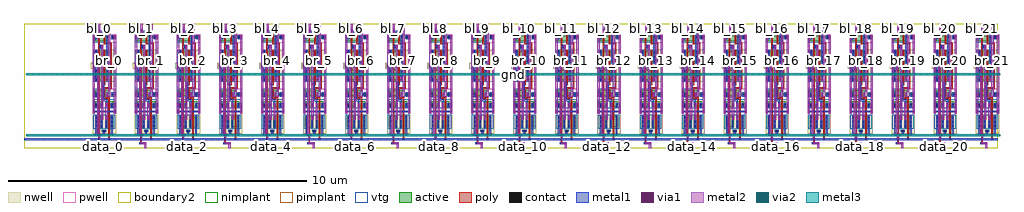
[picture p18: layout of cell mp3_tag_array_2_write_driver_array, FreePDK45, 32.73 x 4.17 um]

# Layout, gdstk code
import gdstk
lib = gdstk.Library(unit=1e-6, precision=5e-10)
def R(c, l, rs):  # rectangles x0, y0, x1, y1
    for r in rs: c.add(gdstk.rectangle(r[:2], r[2:], *l))
def A(c, l, x, y, w, h, nx, ny, dx, dy):  # array of equal rectangles
    R(c, l, [(x+i*dx, y+j*dy, x+i*dx+w, y+j*dy+h) for i in range(nx) for j in range(ny)])
active = (1, 0)
pwell = (2, 0)
nwell = (3, 0)
nimplant = (4, 0)
pimplant = (5, 0)
vtg = (6, 0)
poly = (9, 0)
contact = (10, 0)
metal1 = (11, 0)
via1 = (12, 0)
metal2 = (13, 0)
via2 = (14, 0)
metal3 = (15, 0)
boundary2 = (239, 0)

write_driver = lib.new_cell('write_driver')
R(write_driver, active, [(0.2925,0.535,0.3825,0.625), (0.04,0.705,0.115,1.065), (0.04,0.705,0.115,1.065), (0.04,0.705,0.3,1.065), (0.225,0.705,0.3,1.065), (0.225,0.705,0.3,1.065), (0.38,0.705,0.455,1.065), (0.38,0.705,0.455,1.065), (0.38,0.705,0.64,1.065), (0.565,0.705,0.64,1.065), (0.565,0.705,0.64,1.065), (0.04,0.71,0.115,1.065), (0.225,0.71,0.3,1.065), (0.38,0.71,0.455,1.065), (0.565,0.71,0.64,1.065), (0.04,1.4,0.115,1.58), (0.04,1.4,0.115,1.58), (0.04,1.4,0.3,1.58), (0.04,1.4,0.115,1.475), (0.225,1.4,0.3,1.58), (0.225,1.4,0.3,1.58), (0.225,1.4,0.3,1.475), (0.38,1.4,0.455,1.58), (0.38,1.4,0.455,1.58), (0.38,1.4,0.64,1.58), (0.38,1.4,0.455,1.475), (0.565,1.4,0.64,1.58), (0.565,1.4,0.64,1.58), (0.565,1.4,0.64,1.475), (0.5725,1.7575,0.6625,1.8475), (0.04,1.765,0.115,1.945), (0.04,1.765,0.115,1.945), (0.04,1.765,0.115,1.84), (0.04,1.765,0.49,1.945), (0.1975,1.765,0.3375,1.945), (0.415,1.765,0.49,1.945), (0.415,1.765,0.49,1.945), (0.415,1.765,0.49,1.84), (0.04,2.28,0.115,2.64), (0.04,2.28,0.115,2.64), (0.04,2.28,0.115,2.635), (0.04,2.28,0.49,2.64), (0.1975,2.28,0.3375,2.64), (0.415,2.28,0.49,2.64), (0.415,2.28,0.49,2.64), (0.415,2.28,0.49,2.635), (-0.045,2.72,0.045,2.81), (0.04,2.8925,0.115,3.2525), (0.04,2.8925,0.115,3.2525), (0.04,2.8925,0.49,3.2525), (0.1925,2.8925,0.3325,3.2525), (0.415,2.8925,0.49,3.2525), (0.415,2.8925,0.49,3.2525), (0.04,2.8975,0.115,3.2525), (0.415,2.8975,0.49,3.2525), (0.04,3.5875,0.115,3.7675), (0.04,3.5875,0.115,3.7675), (0.04,3.5875,0.49,3.7675), (0.1925,3.5875,0.3325,3.7675), (0.415,3.5875,0.49,3.7675), (0.415,3.5875,0.49,3.7675), (0.575,3.685,0.665,3.775), (0.04,3.6925,0.115,3.7675), (0.415,3.6925,0.49,3.7675)])
R(write_driver, pwell, [(-0.035,1.345,0.74,2), (-0.015,1.345,0.355,1.635), (0.325,1.345,0.695,1.635), (0.5175,1.7025,0.7175,1.9025), (-0.015,1.71,0.545,2), (-0.035,3.5325,0.74,3.83), (-0.015,3.5325,0.545,3.8225), (0.52,3.63,0.72,3.83)])
R(write_driver, nwell, [(-0.035,0.48,0.74,1.12), (0.2375,0.48,0.4375,0.68), (-0.015,0.65,0.355,1.12), (0.325,0.65,0.695,1.12), (-0.035,2.225,0.74,3.3), (-0.015,2.225,0.545,2.695), (-0.1,2.665,0.1,2.865), (-0.015,2.8375,0.545,3.3075)])
R(write_driver, nimplant, [(0.2925,0.535,0.3825,0.625), (0.04,1.4,0.3,1.58), (0.38,1.4,0.64,1.58), (0.04,1.765,0.49,1.945), (-0.045,2.72,0.045,2.81), (0.04,3.5875,0.49,3.7675)])
R(write_driver, pimplant, [(0.04,0.705,0.3,1.065), (0.38,0.705,0.64,1.065), (0.5725,1.7575,0.6625,1.8475), (0.04,2.28,0.49,2.64), (0.04,2.8925,0.49,3.2525), (0.575,3.685,0.665,3.775)])
R(write_driver, vtg, [(-0.015,0.65,0.355,1.12), (0.325,0.65,0.695,1.12), (-0.015,1.345,0.355,1.635), (0.325,1.345,0.695,1.635), (-0.015,1.71,0.545,2), (-0.015,2.225,0.545,2.695), (-0.015,2.8375,0.545,3.3075), (-0.015,3.5325,0.545,3.8225)])
R(write_driver, poly, [(0.1325,0.1325,0.2075,0.2075), (0.145,0.1375,0.195,0.65), (0.4725,0.2625,0.5475,0.3375), (0.485,0.2675,0.535,0.65), (0.145,0.65,0.195,0.705), (0.145,0.65,0.195,1.12), (0.485,0.65,0.535,0.705), (0.485,0.65,0.535,1.12), (0.145,1.065,0.195,1.12), (0.485,1.065,0.535,1.12), (0.145,1.12,0.195,1.345), (0.485,1.12,0.535,1.345), (0.145,1.345,0.195,1.635), (0.145,1.345,0.195,1.4), (0.485,1.345,0.535,1.635), (0.485,1.345,0.535,1.4), (0.145,1.58,0.195,1.635), (0.485,1.58,0.535,1.635), (0.145,1.635,0.195,1.71), (0.485,1.635,0.535,1.66), (0.335,1.66,0.535,1.71), (0.145,1.71,0.195,2), (0.145,1.71,0.195,1.765), (0.335,1.71,0.385,2), (0.335,1.71,0.385,1.765), (0.145,1.945,0.195,2), (0.335,1.945,0.385,2), (0.335,1.995,0.59,2.045), (0.54,1.995,0.59,3.4825), (0.145,2,0.195,2.225), (0.2775,2.12,0.3525,2.195), (0.335,2.12,0.385,2.225), (0.145,2.225,0.195,2.28), (0.145,2.225,0.195,2.695), (0.335,2.225,0.385,2.28), (0.335,2.225,0.385,2.695), (0.145,2.64,0.195,2.695), (0.335,2.64,0.385,2.695), (0.335,2.695,0.385,2.8375), (0.145,2.8375,0.195,2.8925), (0.145,2.8375,0.195,3.3075), (0.335,2.8375,0.385,2.8925), (0.335,2.8375,0.385,3.3075), (0.145,3.2525,0.195,3.3075), (0.335,3.2525,0.385,3.3075), (0.145,3.3075,0.195,3.5325), (0.18,3.37,0.255,3.445), (0.335,3.4825,0.59,3.5325), (0.145,3.5325,0.195,3.8225), (0.145,3.5325,0.195,3.5875), (0.335,3.5325,0.385,3.8225), (0.335,3.5325,0.385,3.5875), (0.145,3.7675,0.195,3.8225), (0.335,3.7675,0.385,3.8225)])
A(write_driver, contact, 0.045, 0.715, 0.065, 0.065, 1, 3, 0, 0.14)
A(write_driver, contact, 0.23, 0.715, 0.065, 0.065, 1, 3, 0, 0.14)
A(write_driver, contact, 0.385, 0.715, 0.065, 0.065, 1, 3, 0, 0.14)
A(write_driver, contact, 0.57, 0.715, 0.065, 0.065, 1, 3, 0, 0.14)
A(write_driver, contact, 0.045, 2.285, 0.065, 0.065, 1, 3, 0, 0.14)
A(write_driver, contact, 0.42, 2.285, 0.065, 0.065, 1, 3, 0, 0.14)
A(write_driver, contact, 0.045, 2.9025, 0.065, 0.065, 1, 3, 0, 0.14)
A(write_driver, contact, 0.42, 2.9025, 0.065, 0.065, 1, 3, 0, 0.14)
R(write_driver, contact, [(0.1375,0.1375,0.2025,0.2025), (0.4775,0.2675,0.5425,0.3325), (0.305,0.5475,0.37,0.6125), (0.045,1.405,0.11,1.47), (0.23,1.405,0.295,1.47), (0.385,1.405,0.45,1.47), (0.57,1.405,0.635,1.47), (0.045,1.77,0.11,1.835), (0.42,1.77,0.485,1.835), (0.585,1.77,0.65,1.835), (0.2825,2.125,0.3475,2.19), (-0.0325,2.7325,0.0325,2.7975), (0.185,3.375,0.25,3.44), (0.045,3.6975,0.11,3.7625), (0.42,3.6975,0.485,3.7625), (0.5875,3.6975,0.6525,3.7625)])
R(write_driver, metal1, [(0.2075,0.135,0.3425,0.2), (0.1025,0.1375,0.2375,0.2025), (0.045,0.2675,0.635,0.3325), (0.045,0.2675,0.635,0.3325), (0.045,0.3975,0.635,0.4625), (0.105,0.3975,0.24,0.4625), (0.045,0.4625,0.11,0.68), (0.3025,0.4625,0.3675,0.6125), (0.57,0.4625,0.635,0.68), (0.27,0.5475,0.405,0.6125), (0.045,0.68,0.11,1.095), (0.23,0.68,0.295,1.095), (0.385,0.68,0.45,1.095), (0.57,0.68,0.635,1.095), (0.2475,0.96,0.3125,1.095), (0.3875,0.96,0.4525,1.095), (-0.0325,1.165,0.0325,1.3), (0.6725,1.165,0.7375,1.3), (-0.035,1.2,0.74,1.265), (-0.0325,1.37,0.0325,1.505), (0.0275,1.37,0.04,1.505), (0.035,1.37,0.045,1.505), (0.045,1.37,0.11,1.505), (0.23,1.37,0.295,1.505), (0.2475,1.37,0.3125,1.505), (0.385,1.37,0.45,1.505), (0.3875,1.37,0.4525,1.505), (0.57,1.37,0.635,1.505), (0.63,1.37,0.6725,1.505), (0.6725,1.37,0.7375,1.505), (0.38,1.4525,0.445,1.5775), (0.2825,1.5775,0.3475,2.175), (0.2825,1.5775,0.445,1.6425), (-0.0325,1.735,0.0325,1.87), (0.0275,1.735,0.04,1.87), (0.035,1.735,0.045,1.87), (0.045,1.735,0.11,1.87), (0.4175,1.735,0.4825,1.87), (0.42,1.735,0.485,1.87), (0.585,1.735,0.65,1.87), (0.65,1.735,0.6725,1.87), (0.6725,1.735,0.7375,1.87), (0.2825,2.09,0.3475,2.225), (0.045,2.25,0.11,2.665), (0.4175,2.25,0.4825,2.385), (0.42,2.25,0.485,2.665), (0.095,2.65,0.11,2.785), (0.1075,2.65,0.1725,2.785), (0.045,2.665,0.11,2.8675), (-0.0325,2.6975,0.0325,2.8325), (0.0325,2.6975,0.175,2.8325), (0.045,2.8675,0.11,3.2825), (0.42,2.8675,0.485,3.2825), (0.42,3.2825,0.485,3.6625), (0.185,3.34,0.25,3.475), (0.2475,3.34,0.3125,3.475), (-0.0325,3.6625,0.0325,3.7975), (0.0275,3.6625,0.04,3.7975), (0.035,3.6625,0.045,3.7975), (0.045,3.6625,0.11,3.7975), (0.42,3.6625,0.485,3.7975), (0.5875,3.6625,0.6525,3.7975), (0.6525,3.6625,0.6725,3.7975), (0.6725,3.6625,0.7375,3.7975), (0.42,3.7975,0.485,3.8725), (0.15,3.8725,0.485,3.9375), (0.1525,3.8725,0.2175,4.0075)])
R(write_driver, via1, [(0.2425,0.135,0.3075,0.2), (0.14,0.3975,0.205,0.4625), (0.2475,0.995,0.3125,1.06), (0.3875,0.995,0.4525,1.06), (-0.0325,1.2,0.0325,1.265), (0.6725,1.2,0.7375,1.265), (-0.0325,1.405,0.0325,1.47), (0.2475,1.405,0.3125,1.47), (0.3875,1.405,0.4525,1.47), (0.6725,1.405,0.7375,1.47), (-0.0325,1.77,0.0325,1.835), (0.4175,1.77,0.4825,1.835), (0.6725,1.77,0.7375,1.835), (0.4175,2.285,0.4825,2.35), (0.1075,2.685,0.1725,2.75), (0.2475,3.375,0.3125,3.44), (-0.0325,3.6975,0.0325,3.7625), (0.6725,3.6975,0.7375,3.7625), (0.1525,3.9075,0.2175,3.9725)])
R(write_driver, metal2, [(0.28,0,0.35,0.14), (0.28,0,0.35,0.14), (0.1575,0.1325,0.35,0.2025), (0.2075,0.1325,0.3425,0.2025), (0.105,0.395,0.24,0.465), (0.105,0.395,0.24,0.465), (0.105,0.465,0.175,2.785), (0.245,0.96,0.315,1.095), (0.385,0.96,0.455,1.095), (0.245,1.095,0.315,1.37), (0.385,1.095,0.455,1.37), (-0.035,1.1625,0.035,3.7975), (-0.035,1.1625,0.035,3.7975), (-0.035,1.165,0.035,1.3), (0.67,1.165,0.74,3.7975), (0.67,1.165,0.74,1.3), (-0.035,1.37,0.035,1.505), (0.245,1.37,0.315,3.4675), (0.245,1.37,0.315,1.505), (0.385,1.37,0.455,1.505), (0.67,1.37,0.74,1.505), (-0.035,1.735,0.035,1.87), (0.415,1.735,0.485,1.87), (0.485,1.735,0.555,4.175), (0.485,1.735,0.555,4.175), (0.67,1.735,0.74,1.87), (0.415,2.25,0.485,2.385), (0.105,2.65,0.175,2.785), (0.245,3.34,0.315,3.475), (-0.035,3.6625,0.035,3.7975), (0.67,3.6625,0.74,3.7975), (0.15,3.8725,0.22,4.0075), (0.15,3.875,0.22,4.175), (0.15,3.875,0.22,4.175)])
R(write_driver, boundary2, [(0,0,0.705,4.175)])
write_driver.add(gdstk.Label('en', (0.3325,0.3), layer=11, texttype=0))
write_driver.add(gdstk.Label('din', (0.32,0.035), layer=13, texttype=0))
write_driver.add(gdstk.Label('vdd', (0.1725,0.4325), layer=13, texttype=0))
write_driver.add(gdstk.Label('br', (0.52,4.15), layer=13, texttype=0))
write_driver.add(gdstk.Label('bl', (0.19,4.138), layer=13, texttype=0))
write_driver.add(gdstk.Label('gnd', (-0.005,1.57), layer=13, texttype=0))
write_driver.add(gdstk.Label('din', (0.315,0.07), layer=13, texttype=0))
write_driver.add(gdstk.Label('bl', (0.185,4.025), layer=13, texttype=0))
write_driver.add(gdstk.Label('br', (0.52,2.955), layer=13, texttype=0))
write_driver.add(gdstk.Label('en', (0.34,0.3), layer=11, texttype=0))
write_driver.add(gdstk.Label('vdd', (0.1725,0.43), layer=13, texttype=0))
write_driver.add(gdstk.Label('gnd', (0,2.48), layer=13, texttype=0))

mp3_tag_array_2_contact_ = lib.new_cell('mp3_tag_array_2_contact_18')
R(mp3_tag_array_2_contact_, metal2, [(0.0325,0,0.1025,0.135)])
R(mp3_tag_array_2_contact_, via2, [(0.035,0.035,0.1,0.1)])
R(mp3_tag_array_2_contact_, metal3, [(0,0.0325,0.135,0.1025)])
R(mp3_tag_array_2_contact_, boundary2, [(0,0,0.135,0.135)])

mp3_tag_array_2_write_dr = lib.new_cell('mp3_tag_array_2_write_driver_array')
R(mp3_tag_array_2_write_dr, metal1, [(0,0.2675,32.66,0.3325)])
A(mp3_tag_array_2_write_dr, metal2, 2.625, 0, 0.07, 0.14, 22, 1, 1.41, 0)
A(mp3_tag_array_2_write_dr, metal2, 2.83, 1.735, 0.07, 2.44, 22, 1, 1.41, 0)
A(mp3_tag_array_2_write_dr, metal2, 2.495, 3.875, 0.07, 0.3, 22, 1, 1.41, 0)
R(mp3_tag_array_2_write_dr, metal3, [(0.0675,0.395,32.7275,0.465), (0.0675,2.445,32.7275,2.515)])
R(mp3_tag_array_2_write_dr, boundary2, [(0,0,32.66,4.175)])
mp3_tag_array_2_write_dr.add(gdstk.Reference(write_driver, (2.345,0)))
mp3_tag_array_2_write_dr.add(gdstk.Reference(write_driver, (3.755,0)))
mp3_tag_array_2_write_dr.add(gdstk.Reference(write_driver, (5.165,0)))
mp3_tag_array_2_write_dr.add(gdstk.Reference(write_driver, (6.575,0)))
mp3_tag_array_2_write_dr.add(gdstk.Reference(write_driver, (7.985,0)))
mp3_tag_array_2_write_dr.add(gdstk.Reference(write_driver, (9.395,0)))
mp3_tag_array_2_write_dr.add(gdstk.Reference(write_driver, (10.805,0)))
mp3_tag_array_2_write_dr.add(gdstk.Reference(write_driver, (12.215,0)))
mp3_tag_array_2_write_dr.add(gdstk.Reference(write_driver, (13.625,0)))
mp3_tag_array_2_write_dr.add(gdstk.Reference(write_driver, (15.035,0)))
mp3_tag_array_2_write_dr.add(gdstk.Reference(write_driver, (16.445,0)))
mp3_tag_array_2_write_dr.add(gdstk.Reference(write_driver, (17.855,0)))
mp3_tag_array_2_write_dr.add(gdstk.Reference(write_driver, (19.265,0)))
mp3_tag_array_2_write_dr.add(gdstk.Reference(write_driver, (20.675,0)))
mp3_tag_array_2_write_dr.add(gdstk.Reference(write_driver, (22.085,0)))
mp3_tag_array_2_write_dr.add(gdstk.Reference(write_driver, (23.495,0)))
mp3_tag_array_2_write_dr.add(gdstk.Reference(write_driver, (24.905,0)))
mp3_tag_array_2_write_dr.add(gdstk.Reference(write_driver, (26.315,0)))
mp3_tag_array_2_write_dr.add(gdstk.Reference(write_driver, (27.725,0)))
mp3_tag_array_2_write_dr.add(gdstk.Reference(write_driver, (29.135,0)))
mp3_tag_array_2_write_dr.add(gdstk.Reference(write_driver, (30.545,0)))
mp3_tag_array_2_write_dr.add(gdstk.Reference(write_driver, (31.955,0)))
mp3_tag_array_2_write_dr.add(gdstk.Reference(mp3_tag_array_2_contact_, (2.45,0.3625)))
mp3_tag_array_2_write_dr.add(gdstk.Reference(mp3_tag_array_2_contact_, (3.86,0.3625)))
mp3_tag_array_2_write_dr.add(gdstk.Reference(mp3_tag_array_2_contact_, (5.27,0.3625)))
mp3_tag_array_2_write_dr.add(gdstk.Reference(mp3_tag_array_2_contact_, (6.68,0.3625)))
mp3_tag_array_2_write_dr.add(gdstk.Reference(mp3_tag_array_2_contact_, (8.09,0.3625)))
mp3_tag_array_2_write_dr.add(gdstk.Reference(mp3_tag_array_2_contact_, (9.5,0.3625)))
mp3_tag_array_2_write_dr.add(gdstk.Reference(mp3_tag_array_2_contact_, (10.91,0.3625)))
mp3_tag_array_2_write_dr.add(gdstk.Reference(mp3_tag_array_2_contact_, (12.32,0.3625)))
mp3_tag_array_2_write_dr.add(gdstk.Reference(mp3_tag_array_2_contact_, (13.73,0.3625)))
mp3_tag_array_2_write_dr.add(gdstk.Reference(mp3_tag_array_2_contact_, (15.14,0.3625)))
mp3_tag_array_2_write_dr.add(gdstk.Reference(mp3_tag_array_2_contact_, (16.55,0.3625)))
mp3_tag_array_2_write_dr.add(gdstk.Reference(mp3_tag_array_2_contact_, (17.96,0.3625)))
mp3_tag_array_2_write_dr.add(gdstk.Reference(mp3_tag_array_2_contact_, (19.37,0.3625)))
mp3_tag_array_2_write_dr.add(gdstk.Reference(mp3_tag_array_2_contact_, (20.78,0.3625)))
mp3_tag_array_2_write_dr.add(gdstk.Reference(mp3_tag_array_2_contact_, (22.19,0.3625)))
mp3_tag_array_2_write_dr.add(gdstk.Reference(mp3_tag_array_2_contact_, (23.6,0.3625)))
mp3_tag_array_2_write_dr.add(gdstk.Reference(mp3_tag_array_2_contact_, (25.01,0.3625)))
mp3_tag_array_2_write_dr.add(gdstk.Reference(mp3_tag_array_2_contact_, (26.42,0.3625)))
mp3_tag_array_2_write_dr.add(gdstk.Reference(mp3_tag_array_2_contact_, (27.83,0.3625)))
mp3_tag_array_2_write_dr.add(gdstk.Reference(mp3_tag_array_2_contact_, (29.24,0.3625)))
mp3_tag_array_2_write_dr.add(gdstk.Reference(mp3_tag_array_2_contact_, (30.65,0.3625)))
mp3_tag_array_2_write_dr.add(gdstk.Reference(mp3_tag_array_2_contact_, (32.06,0.3625)))
mp3_tag_array_2_write_dr.add(gdstk.Reference(mp3_tag_array_2_contact_, (2.2775,2.4125)))
mp3_tag_array_2_write_dr.add(gdstk.Reference(mp3_tag_array_2_contact_, (3.6875,2.4125)))
mp3_tag_array_2_write_dr.add(gdstk.Reference(mp3_tag_array_2_contact_, (5.0975,2.4125)))
mp3_tag_array_2_write_dr.add(gdstk.Reference(mp3_tag_array_2_contact_, (6.5075,2.4125)))
mp3_tag_array_2_write_dr.add(gdstk.Reference(mp3_tag_array_2_contact_, (7.9175,2.4125)))
mp3_tag_array_2_write_dr.add(gdstk.Reference(mp3_tag_array_2_contact_, (9.3275,2.4125)))
mp3_tag_array_2_write_dr.add(gdstk.Reference(mp3_tag_array_2_contact_, (10.7375,2.4125)))
mp3_tag_array_2_write_dr.add(gdstk.Reference(mp3_tag_array_2_contact_, (12.1475,2.4125)))
mp3_tag_array_2_write_dr.add(gdstk.Reference(mp3_tag_array_2_contact_, (13.5575,2.4125)))
mp3_tag_array_2_write_dr.add(gdstk.Reference(mp3_tag_array_2_contact_, (14.9675,2.4125)))
mp3_tag_array_2_write_dr.add(gdstk.Reference(mp3_tag_array_2_contact_, (16.3775,2.4125)))
mp3_tag_array_2_write_dr.add(gdstk.Reference(mp3_tag_array_2_contact_, (17.7875,2.4125)))
mp3_tag_array_2_write_dr.add(gdstk.Reference(mp3_tag_array_2_contact_, (19.1975,2.4125)))
mp3_tag_array_2_write_dr.add(gdstk.Reference(mp3_tag_array_2_contact_, (20.6075,2.4125)))
mp3_tag_array_2_write_dr.add(gdstk.Reference(mp3_tag_array_2_contact_, (22.0175,2.4125)))
mp3_tag_array_2_write_dr.add(gdstk.Reference(mp3_tag_array_2_contact_, (23.4275,2.4125)))
mp3_tag_array_2_write_dr.add(gdstk.Reference(mp3_tag_array_2_contact_, (24.8375,2.4125)))
mp3_tag_array_2_write_dr.add(gdstk.Reference(mp3_tag_array_2_contact_, (26.2475,2.4125)))
mp3_tag_array_2_write_dr.add(gdstk.Reference(mp3_tag_array_2_contact_, (27.6575,2.4125)))
mp3_tag_array_2_write_dr.add(gdstk.Reference(mp3_tag_array_2_contact_, (29.0675,2.4125)))
mp3_tag_array_2_write_dr.add(gdstk.Reference(mp3_tag_array_2_contact_, (30.4775,2.4125)))
mp3_tag_array_2_write_dr.add(gdstk.Reference(mp3_tag_array_2_contact_, (31.8875,2.4125)))
mp3_tag_array_2_write_dr.add(gdstk.Label('data_0', (2.66,0.07), layer=13, texttype=0))
mp3_tag_array_2_write_dr.add(gdstk.Label('bl_0', (2.53,4.025), layer=13, texttype=0))
mp3_tag_array_2_write_dr.add(gdstk.Label('br_0', (2.865,2.955), layer=13, texttype=0))
mp3_tag_array_2_write_dr.add(gdstk.Label('data_1', (4.07,0.07), layer=13, texttype=0))
mp3_tag_array_2_write_dr.add(gdstk.Label('bl_1', (3.94,4.025), layer=13, texttype=0))
mp3_tag_array_2_write_dr.add(gdstk.Label('br_1', (4.275,2.955), layer=13, texttype=0))
mp3_tag_array_2_write_dr.add(gdstk.Label('data_2', (5.48,0.07), layer=13, texttype=0))
mp3_tag_array_2_write_dr.add(gdstk.Label('bl_2', (5.35,4.025), layer=13, texttype=0))
mp3_tag_array_2_write_dr.add(gdstk.Label('br_2', (5.685,2.955), layer=13, texttype=0))
mp3_tag_array_2_write_dr.add(gdstk.Label('data_3', (6.89,0.07), layer=13, texttype=0))
mp3_tag_array_2_write_dr.add(gdstk.Label('bl_3', (6.76,4.025), layer=13, texttype=0))
mp3_tag_array_2_write_dr.add(gdstk.Label('br_3', (7.095,2.955), layer=13, texttype=0))
mp3_tag_array_2_write_dr.add(gdstk.Label('data_4', (8.3,0.07), layer=13, texttype=0))
mp3_tag_array_2_write_dr.add(gdstk.Label('bl_4', (8.17,4.025), layer=13, texttype=0))
mp3_tag_array_2_write_dr.add(gdstk.Label('br_4', (8.505,2.955), layer=13, texttype=0))
mp3_tag_array_2_write_dr.add(gdstk.Label('data_5', (9.71,0.07), layer=13, texttype=0))
mp3_tag_array_2_write_dr.add(gdstk.Label('bl_5', (9.58,4.025), layer=13, texttype=0))
mp3_tag_array_2_write_dr.add(gdstk.Label('br_5', (9.915,2.955), layer=13, texttype=0))
mp3_tag_array_2_write_dr.add(gdstk.Label('data_6', (11.12,0.07), layer=13, texttype=0))
mp3_tag_array_2_write_dr.add(gdstk.Label('bl_6', (10.99,4.025), layer=13, texttype=0))
mp3_tag_array_2_write_dr.add(gdstk.Label('br_6', (11.325,2.955), layer=13, texttype=0))
mp3_tag_array_2_write_dr.add(gdstk.Label('data_7', (12.53,0.07), layer=13, texttype=0))
mp3_tag_array_2_write_dr.add(gdstk.Label('bl_7', (12.4,4.025), layer=13, texttype=0))
mp3_tag_array_2_write_dr.add(gdstk.Label('br_7', (12.735,2.955), layer=13, texttype=0))
mp3_tag_array_2_write_dr.add(gdstk.Label('data_8', (13.94,0.07), layer=13, texttype=0))
mp3_tag_array_2_write_dr.add(gdstk.Label('bl_8', (13.81,4.025), layer=13, texttype=0))
mp3_tag_array_2_write_dr.add(gdstk.Label('br_8', (14.145,2.955), layer=13, texttype=0))
mp3_tag_array_2_write_dr.add(gdstk.Label('data_9', (15.35,0.07), layer=13, texttype=0))
mp3_tag_array_2_write_dr.add(gdstk.Label('bl_9', (15.22,4.025), layer=13, texttype=0))
mp3_tag_array_2_write_dr.add(gdstk.Label('br_9', (15.555,2.955), layer=13, texttype=0))
mp3_tag_array_2_write_dr.add(gdstk.Label('data_10', (16.76,0.07), layer=13, texttype=0))
mp3_tag_array_2_write_dr.add(gdstk.Label('bl_10', (16.63,4.025), layer=13, texttype=0))
mp3_tag_array_2_write_dr.add(gdstk.Label('br_10', (16.965,2.955), layer=13, texttype=0))
mp3_tag_array_2_write_dr.add(gdstk.Label('data_11', (18.17,0.07), layer=13, texttype=0))
mp3_tag_array_2_write_dr.add(gdstk.Label('bl_11', (18.04,4.025), layer=13, texttype=0))
mp3_tag_array_2_write_dr.add(gdstk.Label('br_11', (18.375,2.955), layer=13, texttype=0))
mp3_tag_array_2_write_dr.add(gdstk.Label('data_12', (19.58,0.07), layer=13, texttype=0))
mp3_tag_array_2_write_dr.add(gdstk.Label('bl_12', (19.45,4.025), layer=13, texttype=0))
mp3_tag_array_2_write_dr.add(gdstk.Label('br_12', (19.785,2.955), layer=13, texttype=0))
mp3_tag_array_2_write_dr.add(gdstk.Label('data_13', (20.99,0.07), layer=13, texttype=0))
mp3_tag_array_2_write_dr.add(gdstk.Label('bl_13', (20.86,4.025), layer=13, texttype=0))
mp3_tag_array_2_write_dr.add(gdstk.Label('br_13', (21.195,2.955), layer=13, texttype=0))
mp3_tag_array_2_write_dr.add(gdstk.Label('data_14', (22.4,0.07), layer=13, texttype=0))
mp3_tag_array_2_write_dr.add(gdstk.Label('bl_14', (22.27,4.025), layer=13, texttype=0))
mp3_tag_array_2_write_dr.add(gdstk.Label('br_14', (22.605,2.955), layer=13, texttype=0))
mp3_tag_array_2_write_dr.add(gdstk.Label('data_15', (23.81,0.07), layer=13, texttype=0))
mp3_tag_array_2_write_dr.add(gdstk.Label('bl_15', (23.68,4.025), layer=13, texttype=0))
mp3_tag_array_2_write_dr.add(gdstk.Label('br_15', (24.015,2.955), layer=13, texttype=0))
mp3_tag_array_2_write_dr.add(gdstk.Label('data_16', (25.22,0.07), layer=13, texttype=0))
mp3_tag_array_2_write_dr.add(gdstk.Label('bl_16', (25.09,4.025), layer=13, texttype=0))
mp3_tag_array_2_write_dr.add(gdstk.Label('br_16', (25.425,2.955), layer=13, texttype=0))
mp3_tag_array_2_write_dr.add(gdstk.Label('data_17', (26.63,0.07), layer=13, texttype=0))
mp3_tag_array_2_write_dr.add(gdstk.Label('bl_17', (26.5,4.025), layer=13, texttype=0))
mp3_tag_array_2_write_dr.add(gdstk.Label('br_17', (26.835,2.955), layer=13, texttype=0))
mp3_tag_array_2_write_dr.add(gdstk.Label('data_18', (28.04,0.07), layer=13, texttype=0))
mp3_tag_array_2_write_dr.add(gdstk.Label('bl_18', (27.91,4.025), layer=13, texttype=0))
mp3_tag_array_2_write_dr.add(gdstk.Label('br_18', (28.245,2.955), layer=13, texttype=0))
mp3_tag_array_2_write_dr.add(gdstk.Label('data_19', (29.45,0.07), layer=13, texttype=0))
mp3_tag_array_2_write_dr.add(gdstk.Label('bl_19', (29.32,4.025), layer=13, texttype=0))
mp3_tag_array_2_write_dr.add(gdstk.Label('br_19', (29.655,2.955), layer=13, texttype=0))
mp3_tag_array_2_write_dr.add(gdstk.Label('data_20', (30.86,0.07), layer=13, texttype=0))
mp3_tag_array_2_write_dr.add(gdstk.Label('bl_20', (30.73,4.025), layer=13, texttype=0))
mp3_tag_array_2_write_dr.add(gdstk.Label('br_20', (31.065,2.955), layer=13, texttype=0))
mp3_tag_array_2_write_dr.add(gdstk.Label('data_21', (32.27,0.07), layer=13, texttype=0))
mp3_tag_array_2_write_dr.add(gdstk.Label('bl_21', (32.14,4.025), layer=13, texttype=0))
mp3_tag_array_2_write_dr.add(gdstk.Label('br_21', (32.475,2.955), layer=13, texttype=0))
mp3_tag_array_2_write_dr.add(gdstk.Label('en', (16.33,0.3), layer=11, texttype=0))
mp3_tag_array_2_write_dr.add(gdstk.Label('vdd', (16.3975,0.43), layer=15, texttype=0))
mp3_tag_array_2_write_dr.add(gdstk.Label('gnd', (16.3975,2.48), layer=15, texttype=0))

lib.write_gds('mp3_tag_array_2_write_driver_array.gds')
